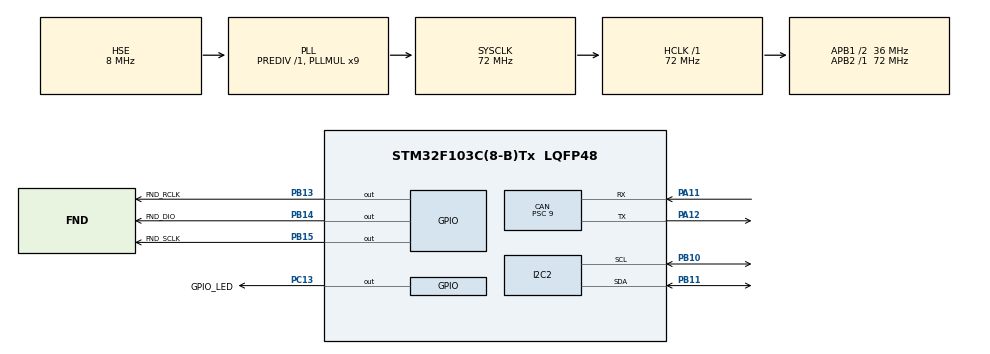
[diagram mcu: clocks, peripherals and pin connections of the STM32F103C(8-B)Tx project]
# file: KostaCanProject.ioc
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CAN.BS1=CAN_BS1_5TQ
CAN.BS2=CAN_BS2_2TQ
CAN.CalculateBaudRate=500000
CAN.CalculateTimeBit=2000
CAN.CalculateTimeQuantum=250.0
CAN.Prescaler=9
FREERTOS.Tasks01=defaultTask,0,256,StartDefaultTask,Default,NULL,Dynamic,NULL,NULL;myTask02,-3,256,StartTask02,Default,NULL,Dynamic,NULL,NULL
FREERTOS.configUSE_NEWLIB_REENTRANT=1
Mcu.Family=STM32F1
Mcu.Name=STM32F103C(8-B)Tx
Mcu.Package=LQFP48
NVIC.PriorityGroup=NVIC_PRIORITYGROUP_4
NVIC.TIM4_IRQn=true\:15\:0\:false\:false\:true\:false\:false\:true\:true
NVIC.TimeBase=TIM4_IRQn
NVIC.TimeBaseIP=TIM4
NVIC.USB_LP_CAN1_RX0_IRQn=true\:5\:0\:false\:false\:true\:true\:true\:true\:true
PA11.Mode=CAN_Activate
PA11.Signal=CAN_RX
PA12.Mode=CAN_Activate
PA12.Signal=CAN_TX
PA13.Mode=Serial_Wire
PA13.Signal=SYS_JTMS-SWDIO
PA14.Mode=Serial_Wire
PA14.Signal=SYS_JTCK-SWCLK
PB10.Mode=I2C
PB10.Signal=I2C2_SCL
PB11.Mode=I2C
PB11.Signal=I2C2_SDA
PB13.GPIO_Label=FND_RCLK
PB13.GPIO_ModeDefaultOutputPP=GPIO_MODE_OUTPUT_PP
PB13.GPIO_PuPd=GPIO_PULLUP
PB13.GPIO_Speed=GPIO_SPEED_FREQ_HIGH
PB13.PinState=GPIO_PIN_SET
PB13.Signal=GPIO_Output
PB14.GPIO_Label=FND_DIO
PB14.GPIO_ModeDefaultOutputPP=GPIO_MODE_OUTPUT_PP
PB14.GPIO_PuPd=GPIO_PULLUP
PB14.GPIO_Speed=GPIO_SPEED_FREQ_HIGH
PB14.PinState=GPIO_PIN_SET
PB14.Signal=GPIO_Output
PB15.GPIO_Label=FND_SCLK
PB15.GPIO_PuPd=GPIO_PULLUP
PB15.GPIO_Speed=GPIO_SPEED_FREQ_HIGH
PB15.PinState=GPIO_PIN_SET
PB15.Signal=GPIO_Output
PC13-TAMPER-RTC.GPIO_Label=GPIO_LED
PC13-TAMPER-RTC.GPIO_ModeDefaultOutputPP=GPIO_MODE_OUTPUT_PP
PC13-TAMPER-RTC.GPIO_PuPd=GPIO_PULLUP
PC13-TAMPER-RTC.GPIO_Speed=GPIO_SPEED_FREQ_HIGH
PC13-TAMPER-RTC.PinState=GPIO_PIN_SET
PC13-TAMPER-RTC.Signal=GPIO_Output
PD0-OSC_IN.Mode=HSE-External-Oscillator
PD0-OSC_IN.Signal=RCC_OSC_IN
PD1-OSC_OUT.Mode=HSE-External-Oscillator
PD1-OSC_OUT.Signal=RCC_OSC_OUT
ProjectManager.HeapSize=0x200
ProjectManager.StackSize=0x400
ProjectManager.TargetToolchain=STM32CubeIDE
RCC.AHBFreq_Value=72000000
RCC.APB1CLKDivider=RCC_HCLK_DIV2
RCC.APB1Freq_Value=36000000
RCC.APB1TimFreq_Value=72000000
RCC.APB2Freq_Value=72000000
RCC.APB2TimFreq_Value=72000000
RCC.HCLKFreq_Value=72000000
RCC.PLLMUL=RCC_PLL_MUL9
RCC.PLLSourceVirtual=RCC_PLLSOURCE_HSE
RCC.SYSCLKFreq_VALUE=72000000
RCC.SYSCLKSource=RCC_SYSCLKSOURCE_PLLCLK
RCC.USBFreq_Value=72000000
VP_FREERTOS_VS_CMSIS_V1.Mode=CMSIS_V1
VP_SYS_VS_tim4.Mode=TIM4
board=custom

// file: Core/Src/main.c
/* USER CODE BEGIN Header */
/**
  ******************************************************************************
  * @file           : main.c
  * @brief          : Main program body
  ******************************************************************************
  * @attention
  *
  * Copyright (c) 2024 STMicroelectronics.
  * All rights reserved.
  *
  * This software is licensed under terms that can be found in the LICENSE file
  * in the root directory of this software component.
  * If no LICENSE file comes with this software, it is provided AS-IS.
  *
  ******************************************************************************
  */
/* USER CODE END Header */
#include "main.h"
#include "cmsis_os.h"
#include "can.h"
#include "i2c.h"
#include "gpio.h"

/* USER CODE BEGIN PV */
extern uint8_t _LED_0F[29];

/* USER CODE END PV */

void SystemClock_Config(void);
void MX_FREERTOS_Init(void);
/* USER CODE BEGIN PFP */
//int _write(int file, char *p, int len);
/* USER CODE END PFP */

int main(void)
{

  /* USER CODE BEGIN 1 */
	send_port(_LED_0F[0], 0b0001);  //4 bit segment initial

  /* USER CODE END 1 */

  /* MCU Configuration--------------------------------------------------------*/

  /* Reset of all peripherals, Initializes the Flash interface and the Systick. */
  HAL_Init();

  /* USER CODE BEGIN Init */
  FND_INIT();

  /* USER CODE END Init */

  /* Configure the system clock */
  SystemClock_Config();

  /* Initialize all configured peripherals */
  MX_GPIO_Init();
  MX_CAN_Init();
  MX_I2C2_Init();

  /* Call init function for freertos objects (in cmsis_os2.c) */
  MX_FREERTOS_Init();

  /* Start scheduler */
  osKernelStart();

  /* We should never get here as control is now taken by the scheduler */

  /* Infinite loop */
  while (1)
  {

  }
}

void SystemClock_Config(void)
{
  RCC_OscInitTypeDef RCC_OscInitStruct = {0};
  RCC_ClkInitTypeDef RCC_ClkInitStruct = {0};

  /** Initializes the RCC Oscillators according to the specified parameters
  * in the RCC_OscInitTypeDef structure.
  */
  RCC_OscInitStruct.OscillatorType = RCC_OSCILLATORTYPE_HSE;
  RCC_OscInitStruct.HSEState = RCC_HSE_ON;
  RCC_OscInitStruct.HSEPredivValue = RCC_HSE_PREDIV_DIV1;
  RCC_OscInitStruct.HSIState = RCC_HSI_ON;
  RCC_OscInitStruct.PLL.PLLState = RCC_PLL_ON;
  RCC_OscInitStruct.PLL.PLLSource = RCC_PLLSOURCE_HSE;
  RCC_OscInitStruct.PLL.PLLMUL = RCC_PLL_MUL9;
  if (HAL_RCC_OscConfig(&RCC_OscInitStruct) != HAL_OK)
  {
    Error_Handler();
  }

  /** Initializes the CPU, AHB and APB buses clocks
  */
  RCC_ClkInitStruct.ClockType = RCC_CLOCKTYPE_HCLK|RCC_CLOCKTYPE_SYSCLK
                              |RCC_CLOCKTYPE_PCLK1|RCC_CLOCKTYPE_PCLK2;
  RCC_ClkInitStruct.SYSCLKSource = RCC_SYSCLKSOURCE_PLLCLK;
  RCC_ClkInitStruct.AHBCLKDivider = RCC_SYSCLK_DIV1;
  RCC_ClkInitStruct.APB1CLKDivider = RCC_HCLK_DIV2;
  RCC_ClkInitStruct.APB2CLKDivider = RCC_HCLK_DIV1;

  if (HAL_RCC_ClockConfig(&RCC_ClkInitStruct, FLASH_LATENCY_2) != HAL_OK)
  {
    Error_Handler();
  }
}

void HAL_TIM_PeriodElapsedCallback(TIM_HandleTypeDef *htim)
{
  if (htim->Instance == TIM4) {
    HAL_IncTick();
  }
}

void Error_Handler(void)
{
  __disable_irq();
  while (1)
  {
  }
}

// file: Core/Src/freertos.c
/* USER CODE BEGIN Header */
/**
  ******************************************************************************
  * File Name          : freertos.c
  * Description        : Code for freertos applications
  ******************************************************************************
  * @attention
  *
  * Copyright (c) 2024 STMicroelectronics.
  * All rights reserved.
  *
  * This software is licensed under terms that can be found in the LICENSE file
  * in the root directory of this software component.
  * If no LICENSE file comes with this software, it is provided AS-IS.
  *
  ******************************************************************************
  */
/* USER CODE END Header */

#include "FreeRTOS.h"
#include "task.h"
#include "main.h"
#include "cmsis_os.h"
#include "fonts.h"
#include "ssd1306.h"
#include "test.h"
#include "bitmap.h"
#include "horse_anim.h"

/* USER CODE BEGIN Includes */
#include "fnd_controller.h"
/* USER CODE END Includes */

/* USER CODE BEGIN PM */
#define LED_ADDRESS 0b0001
/* USER CODE END PM */

/* USER CODE BEGIN Variables */
extern CAN_HandleTypeDef hcan;
extern uint8_t _LED_0F[29];
uint8_t Velocity;
CAN_RxHeaderTypeDef rxHeader; //CAN Bus Transmit Header
CAN_TxHeaderTypeDef txHeader; //CAN Bus Receive Header

uint8_t canData[8];  //CAN Bus Receive Buffer
uint8_t canRX[8];
uint8_t csend[] = {0x01,0x02,0x03,0x04,0x05,0x06,0x07,0x08};

CAN_FilterTypeDef canfil; //CAN Bus Filter
uint32_t canMailbox; //CAN Bus Mail box variable

/* USER CODE END Variables */
osThreadId defaultTaskHandle;
osThreadId myTask02Handle;

void StartDefaultTask(void const * argument);
void StartTask02(void const * argument);

void MX_FREERTOS_Init(void); /* (MISRA C 2004 rule 8.1) */

/* GetIdleTaskMemory prototype (linked to static allocation support) */
void vApplicationGetIdleTaskMemory( StaticTask_t **ppxIdleTaskTCBBuffer, StackType_t **ppxIdleTaskStackBuffer, uint32_t *pulIdleTaskStackSize );

/* USER CODE BEGIN GET_IDLE_TASK_MEMORY */
static StaticTask_t xIdleTaskTCBBuffer;
static StackType_t xIdleStack[configMINIMAL_STACK_SIZE];

void vApplicationGetIdleTaskMemory( StaticTask_t **ppxIdleTaskTCBBuffer, StackType_t **ppxIdleTaskStackBuffer, uint32_t *pulIdleTaskStackSize )
{
  *ppxIdleTaskTCBBuffer = &xIdleTaskTCBBuffer;
  *ppxIdleTaskStackBuffer = &xIdleStack[0];
  *pulIdleTaskStackSize = configMINIMAL_STACK_SIZE;
  /* place for user code */
}
/* USER CODE END GET_IDLE_TASK_MEMORY */

void MX_FREERTOS_Init(void) {

  /* Create the thread(s) */
  /* definition and creation of defaultTask */
  osThreadDef(defaultTask, StartDefaultTask, osPriorityNormal, 0, 256);
  defaultTaskHandle = osThreadCreate(osThread(defaultTask), NULL);

  /* definition and creation of myTask02 */
  osThreadDef(myTask02, StartTask02, osPriorityIdle, 0, 256);
  myTask02Handle = osThreadCreate(osThread(myTask02), NULL);

}

void StartDefaultTask(void const * argument)
{
  /* USER CODE BEGIN StartDefaultTask */
  /* Infinite loop */
		  canfil.FilterBank = 0;
		  canfil.FilterMode = CAN_FILTERMODE_IDMASK;
		  canfil.FilterFIFOAssignment = CAN_RX_FIFO0;
		  canfil.FilterIdHigh = 0;
		  canfil.FilterIdLow = 0;
		  canfil.FilterMaskIdHigh = 0;
		  canfil.FilterMaskIdLow = 0;
		  canfil.FilterScale = CAN_FILTERSCALE_32BIT;
		  canfil.FilterActivation = ENABLE;
		  canfil.SlaveStartFilterBank = 14;

		  txHeader.DLC = 8;
		  txHeader.IDE = CAN_ID_STD;
		  txHeader.RTR = CAN_RTR_DATA;
		  txHeader.StdId = 0x77;
		  //txHeader.ExtId = 0x02;
		  txHeader.TransmitGlobalTime = DISABLE;

		  HAL_CAN_ConfigFilter(&hcan,&canfil);
		  HAL_CAN_Start(&hcan);
		  HAL_CAN_ActivateNotification(&hcan,CAN_IT_RX_FIFO0_MSG_PENDING);

		  /* Infinite loop */
		  for(;;)
		  {
			  Velocity = canData[1];
			  uint8_t tmp = canData[1];
			  if (canData[0] >= 0 && canData[0] <10){
				  //for(int i = 0; i<10; i++){
					//  if(canData[i] == i) { send_port(_LED_0F[i], LED_ADDRESS);
				  //}
				  if(canData[0] ==0){send_port(_LED_0F[0], LED_ADDRESS);}
				  else if(canData[0] ==1){send_port(_LED_0F[1], LED_ADDRESS);}
				  else if(canData[0] ==2){send_port(_LED_0F[2], LED_ADDRESS);}
				  else if(canData[0] ==3){send_port(_LED_0F[3], LED_ADDRESS);}
				  else if(canData[0] ==4){send_port(_LED_0F[4], LED_ADDRESS);}
				  else if(canData[0] ==5){send_port(_LED_0F[5], LED_ADDRESS);}
				  else if(canData[0] ==6){send_port(_LED_0F[6], LED_ADDRESS);}
				  else if(canData[0] ==7){send_port(_LED_0F[7], LED_ADDRESS);}
				  else if(canData[0] ==8){send_port(_LED_0F[8], LED_ADDRESS);}
				  else if(canData[0] ==9){send_port(_LED_0F[9], LED_ADDRESS);}
				  tmp = 0;
			  }
			  else if (canData[0] >= 10 && canData[0] <= 20) {
				  if(canData[0] == 10){send_port(_LED_0F[10], LED_ADDRESS);} // 1's digit i cant see. fix it after
				  else if(canData[0] == 11){send_port(_LED_0F[11], LED_ADDRESS);}
				  else if(canData[0] == 12){send_port(_LED_0F[12], LED_ADDRESS);}
				  else if(canData[0] == 13){send_port(_LED_0F[13], LED_ADDRESS);}
				  else if(canData[0] == 14){send_port(_LED_0F[14], LED_ADDRESS);}
				  else if(canData[0] == 15){send_port(_LED_0F[15], LED_ADDRESS);}
				  else if(canData[0] == 16){send_port(_LED_0F[16], LED_ADDRESS);}
				  else if(canData[0] == 17){send_port(_LED_0F[17], LED_ADDRESS);}
				  else if(canData[0] == 18){send_port(_LED_0F[18], LED_ADDRESS);}
				  else if(canData[0] == 19){send_port(_LED_0F[19], LED_ADDRESS);}
				  else if(canData[0] == 20){send_port(_LED_0F[20], LED_ADDRESS);}
				  tmp = 10;
			  }
			  else if (canData[0] > 20 && canData[0] <= 30) tmp= 15;
			  else if (canData[0] > 30 && canData[0] <= 40) tmp = 20;
			  else if (canData[0] > 40 && canData[0] <= 50) tmp = 25;
			  else{
				  continue;
			  }

			  uint8_t csend[] = {canData[0], tmp, 0, 0, 0, 0 , 0 , 0};
			  HAL_CAN_AddTxMessage(&hcan,&txHeader,csend,&canMailbox);

			  //HAL_GPIO_TogglePin(GPIOC, GPIO_PIN_13);

			  osDelay(1000);
		  }

  /* USER CODE END StartDefaultTask */
}

void StartTask02(void const * argument)
{
  /* USER CODE BEGIN StartTask02 */
	//functionIdle();
    SSD1306_GotoXY (0,0);
    SSD1306_Puts ("HELLO", &Font_11x18, 1);
    SSD1306_GotoXY (10, 30);
    SSD1306_Puts ("  WORLD :)", &Font_11x18, 1);
    SSD1306_UpdateScreen(); //display

    HAL_Delay (2000);

    SSD1306_ScrollRight(0,7);  // scroll entire screen
    HAL_Delay(2000);  // 2 sec

    SSD1306_ScrollLeft(0,7);  // scroll entire screen
    HAL_Delay(2000);  // 2 sec

    SSD1306_Stopscroll();
    SSD1306_Clear();

    SSD1306_DrawBitmap(0,0,logo, 128, 64, 1);
    SSD1306_UpdateScreen();

    HAL_Delay(2000);

    SSD1306_ScrollRight(0x00, 0x0f);    // scroll entire screen right

    HAL_Delay (2000);

    SSD1306_ScrollLeft(0x00, 0x0f);  // scroll entire screen left

    HAL_Delay (2000);

    SSD1306_Scrolldiagright(0x00, 0x0f);  // scroll entire screen diagonal right

    HAL_Delay (2000);

    SSD1306_Scrolldiagleft(0x00, 0x0f);  // scroll entire screen diagonal left

    HAL_Delay (2000);

    SSD1306_Stopscroll();   // stop scrolling. If not done, screen will keep on scrolling

    SSD1306_InvertDisplay(1);   // invert the display

    HAL_Delay(2000);

    SSD1306_InvertDisplay(0);  // normalize the display
//

    HAL_Delay(2000);
  /* Infinite loop */
  for(;;)
  {

	  //HAL_GPIO_TogglePin(GPIOC, GPIO_PIN_13);
	  SSD1306_Clear();
	  SSD1306_DrawBitmap(0,0,horse1,128,64,1);
	  SSD1306_UpdateScreen();

	  SSD1306_Clear();
	  SSD1306_DrawBitmap(0,0,horse2,128,64,1);
	  SSD1306_UpdateScreen();

	  SSD1306_Clear();
	  SSD1306_DrawBitmap(0,0,horse3,128,64,1);
	  SSD1306_UpdateScreen();

	  SSD1306_Clear();
	  SSD1306_DrawBitmap(0,0,horse4,128,64,1);
	  SSD1306_UpdateScreen();

	  SSD1306_Clear();
	  SSD1306_DrawBitmap(0,0,horse5,128,64,1);
	  SSD1306_UpdateScreen();

	  SSD1306_Clear();
	  SSD1306_DrawBitmap(0,0,horse6,128,64,1);
	  SSD1306_UpdateScreen();

	  SSD1306_Clear();
	  SSD1306_DrawBitmap(0,0,horse7,128,64,1);
	  SSD1306_UpdateScreen();

	  SSD1306_Clear();
	  SSD1306_DrawBitmap(0,0,horse8,128,64,1);
	  SSD1306_UpdateScreen();

	  SSD1306_Clear();
	  SSD1306_DrawBitmap(0,0,horse9,128,64,1);
	  SSD1306_UpdateScreen();

	  SSD1306_Clear();
	  SSD1306_DrawBitmap(0,0,horse10,128,64,1);
	  SSD1306_UpdateScreen();
	  osDelay(1000);
  }
  /* USER CODE END StartTask02 */
}

/* USER CODE BEGIN Application */
void HAL_CAN_RxFifo0MsgPendingCallback(CAN_HandleTypeDef *hcan1)
{
	HAL_CAN_GetRxMessage(hcan1, CAN_RX_FIFO0, &rxHeader, canRX);
	for(int i = 0; i<2; i++){
		canData[i] = canRX[i];
	}
	HAL_GPIO_TogglePin(GPIOC, GPIO_PIN_13);

	//if (rxHeader.StdId == 0x0F6) {
		//HAL_GPIO_TogglePin(GPIOC, GPIO_PIN_13);
	//}

}

/* USER CODE END Application */
